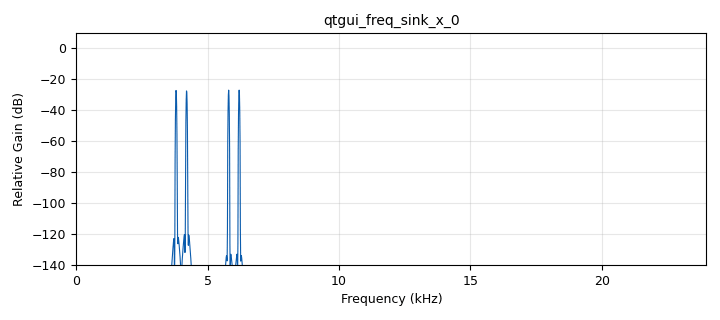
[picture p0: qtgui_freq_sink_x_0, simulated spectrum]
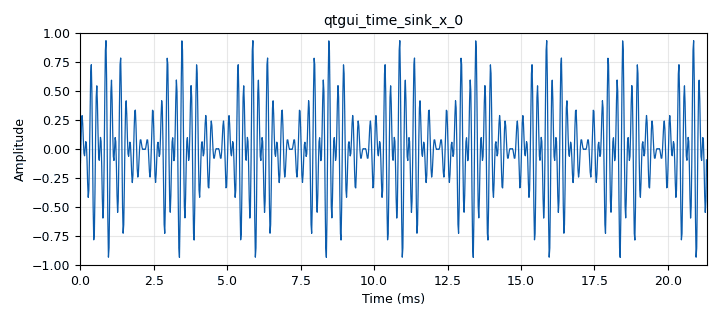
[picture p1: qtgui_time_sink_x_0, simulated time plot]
options:
  parameters:
    generate_options: qt_gui
    id: dsbsc
    output_language: python
    title: DSBSC
  states: {}

blocks:
- name: samp_rate
  id: variable
  parameters:
    value: '48000'
  states: {}
- name: analog_sig_source_x_0
  id: analog_sig_source_x
  parameters:
    amp: '1'
    freq: '5000'
    offset: '0'
    phase: '0'
    samp_rate: samp_rate
    type: float
    waveform: analog.GR_COS_WAVE
  states: {}
- name: analog_sig_source_x_0_0
  id: analog_sig_source_x
  parameters:
    amp: '0.5'
    freq: '800'
    offset: '0'
    phase: '0'
    samp_rate: samp_rate
    type: float
    waveform: analog.GR_COS_WAVE
  states: {}
- name: analog_sig_source_x_0_0_1
  id: analog_sig_source_x
  parameters:
    amp: '0.5'
    freq: '1200'
    offset: '0'
    phase: '0'
    samp_rate: samp_rate
    type: float
    waveform: analog.GR_COS_WAVE
  states: {}
- name: blocks_multiply_xx_0
  id: blocks_multiply_xx
  parameters:
    type: float
  states: {}
- name: blocks_sub_xx_0
  id: blocks_sub_xx
  parameters:
    type: float
  states: {}
- name: import_0
  id: import
  parameters:
    imports: from math import pi
  states: {}
- name: note_0
  id: note
  parameters:
    comment: |-
      https://en.wikipedia.org/wiki/Double-sideband_suppressed-carrier_transmission
      http://ecelabs.njit.edu/ece489/dsbsc_generation.php

      Double-sideband suppressed-carrier transmission (DSBSC) is a waveform based on a multiplication (mixing) of two real cosine/sine waves.
      One wave is called the carrier wave and the frequency is usually much higher than the other wave.

      It is called double-sideband due to the fact that the multiplication generates two frequency:
      (f_carrier -  f_message)
      (f_carrier + f_message)

      It is called suppressed because it suppresses the carier signal (the frequency spectrum shows a dip at the carrier frequency).

      The equation is
      cos(f_message*t) . cos(f_carrier*t) = (E/2) cos(f_carrier - f_message)t + (E/2) cos(f_carrier + f_message)t 

      If  N real cosine/sine waves are multiplied together, expand the equation above into more cosine/sine terms using trigonometric identities.

      This technique of mixing waves is used AM modulation.

      It is assumed here that there is no DC term in m(t) (message has unity power).
      The presence of a DC term in m(t) will result in a term at the carrier signal in the DSB signal;
      that is, a term at ‘carrier’ frequency. It will no longer be a double sideband suppressed carrier signal. A special case of a DSB with a significant term at carrier frequency is an amplitude modulated.

      The DSBSC is a member of a class known as linear modulated signals.
      Here the spectrum of the modulated signal, when the message has two or more components, is the sum of the spectral components which each message component would have produced if present alone.

      For the case of non-linear modulated signals, on the other hand, this linear addition does not take place.
      In these cases the whole is more than the sum of the parts.
      A frequency modulated (FM) signal is an example.
  states: {}
- name: qtgui_freq_sink_x_0
  id: qtgui_freq_sink_x
  parameters:
    bw: samp_rate
    fc: '0'
    fftsize: '4096'
    freqhalf: 'False'
    type: float
    wintype: firdes.WIN_BLACKMAN_hARRIS
  states: {}
- name: qtgui_time_sink_x_0
  id: qtgui_time_sink_x
  parameters:
    size: '1024'
    srate: samp_rate
    type: float
  states: {}

connections:
- [analog_sig_source_x_0, '0', blocks_multiply_xx_0, '1']
- [analog_sig_source_x_0_0, '0', blocks_sub_xx_0, '0']
- [analog_sig_source_x_0_0_1, '0', blocks_sub_xx_0, '1']
- [blocks_multiply_xx_0, '0', qtgui_freq_sink_x_0, '0']
- [blocks_multiply_xx_0, '0', qtgui_time_sink_x_0, '0']
- [blocks_sub_xx_0, '0', blocks_multiply_xx_0, '0']

metadata:
  file_format: 1
